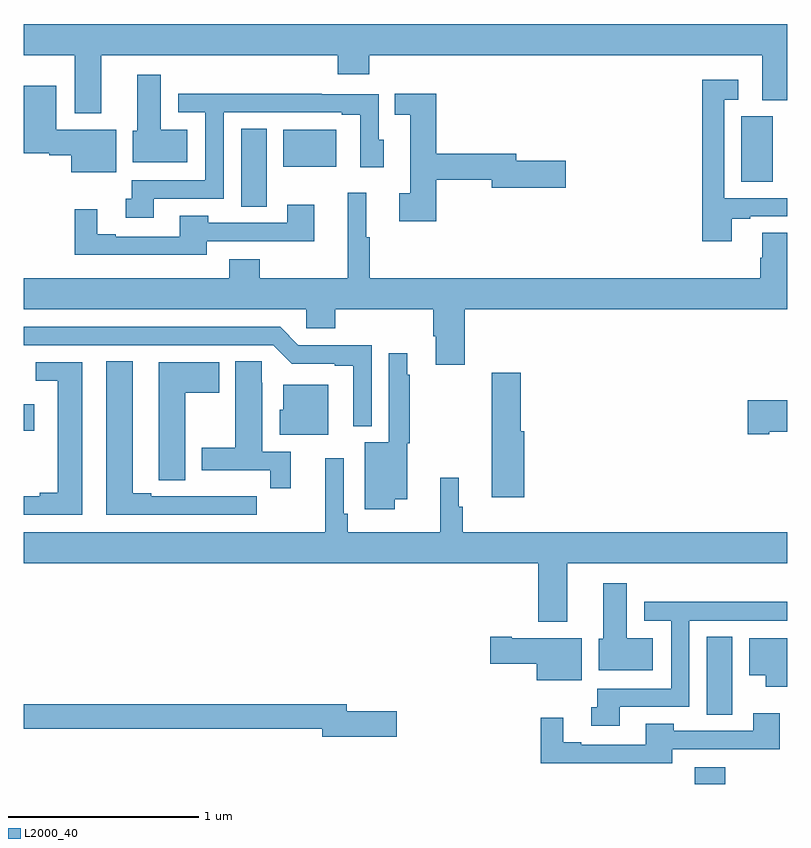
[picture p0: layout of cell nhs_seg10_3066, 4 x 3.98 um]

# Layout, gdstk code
import gdstk
lib = gdstk.Library(unit=1e-6, precision=1e-09)
def R(c, l, rs):  # rectangles x0, y0, x1, y1
    for r in rs: c.add(gdstk.rectangle(r[:2], r[2:], *l))
def P(c, l, *ps):  # polygons
    for p in ps: c.add(gdstk.Polygon(p, *l))
L2000_40 = (2000, 40)

nhs_seg10_3066 = lib.new_cell('nhs_seg10_3066')
R(nhs_seg10_3066, L2000_40, [(280.517,1292.5,280.677,1292.587), (280.58,1292.863,280.714,1293.272), (277,1294.352,277.054,1294.492), (278.138,1295.527,278.272,1295.936), (280.76,1295.656,280.924,1296), (278.36,1295.735,278.638,1295.929)])
P(nhs_seg10_3066, L2000_40, [(277.405,1296.32),(278.645,1296.32),(278.645,1296.221),(278.81,1296.221),(278.81,1296.32),(280.871,1296.32),(280.871,1296.085),(281,1296.085),(281,1296.484),(277,1296.484),(277,1296.32),(277.265,1296.32),(277.265,1296.015),(277.405,1296.015)],
  [(277.855,1295.929),(277.717,1295.929),(277.717,1296.217),(277.595,1296.217),(277.595,1295.925),(277.571,1295.925),(277.571,1295.759),(277.855,1295.759)],
  [(280.711,1295.463),(280.807,1295.463),(280.807,1295.475),(281,1295.475),(281,1295.571),(280.671,1295.571),(280.671,1296.087),(280.744,1296.087),(280.744,1296.193),(280.555,1296.193),(280.555,1295.346),(280.711,1295.346)],
  [(277.483,1295.929),(277.168,1295.929),(277.168,1296.16),(277,1296.16),(277,1295.807),(277.133,1295.807),(277.133,1295.795),(277.247,1295.795),(277.247,1295.708),(277.483,1295.708)],
  [(279.161,1295.668),(279.452,1295.668),(279.452,1295.626),(279.841,1295.626),(279.841,1295.768),(279.58,1295.768),(279.58,1295.804),(279.161,1295.804),(279.161,1296.119),(278.944,1296.119),(278.944,1296.009),(279.026,1296.009),(279.026,1295.598),(278.967,1295.598),(278.967,1295.45),(279.161,1295.45)],
  [(277.681,1295.568),(278.046,1295.568),(278.046,1296.021),(278.666,1296.021),(278.666,1296.009),(278.763,1296.009),(278.763,1295.733),(278.887,1295.733),(278.887,1295.877),(278.859,1295.877),(278.859,1296.117),(278.561,1296.117),(278.561,1296.119),(277.809,1296.119),(277.809,1296.021),(277.95,1296.021),(277.95,1295.664),(277.564,1295.664),(277.564,1295.567),(277.533,1295.567),(277.533,1295.469),(277.681,1295.469)],
  [(279.311,1294.988),(281,1294.988),(281,1295.39),(280.871,1295.39),(280.871,1295.258),(280.859,1295.258),(280.859,1295.152),(278.813,1295.152),(278.813,1295.367),(278.794,1295.367),(278.794,1295.599),(278.696,1295.599),(278.696,1295.152),(278.235,1295.152),(278.235,1295.251),(278.075,1295.251),(278.075,1295.152),(277,1295.152),(277,1294.988),(278.481,1294.988),(278.481,1294.89),(278.633,1294.89),(278.633,1294.988),(279.146,1294.988),(279.146,1294.846),(279.158,1294.846),(279.158,1294.698),(279.311,1294.698)],
  [(277.957,1295.346),(278.521,1295.346),(278.521,1295.536),(278.381,1295.536),(278.381,1295.442),(277.965,1295.442),(277.965,1295.479),(277.817,1295.479),(277.817,1295.37),(277.48,1295.37),(277.48,1295.383),(277.384,1295.383),(277.384,1295.512),(277.267,1295.512),(277.267,1295.274),(277.957,1295.274)],
  [(278.823,1294.8),(278.439,1294.8),(278.343,1294.896),(277,1294.896),(277,1294.8),(278.307,1294.8),(278.403,1294.704),(278.63,1294.704),(278.63,1294.692),(278.726,1294.692),(278.726,1294.376),(278.823,1294.376)],
  [(278.944,1293.992),(279.01,1293.992),(279.01,1294.287),(279.022,1294.287),(279.022,1294.646),(279.01,1294.646),(279.01,1294.759),(278.913,1294.759),(278.913,1294.291),(278.786,1294.291),(278.786,1293.939),(278.944,1293.939)],
  [(278.221,1294.008),(278.108,1294.008),(278.108,1294.009),(277.942,1294.009),(277.942,1294.008),(277.666,1294.008),(277.666,1294.023),(277.57,1294.023),(277.57,1294.715),(277.43,1294.715),(277.43,1293.912),(278.221,1293.912)],
  [(278.399,1294.242),(278.248,1294.242),(278.248,1294.604),(278.247,1294.604),(278.247,1294.715),(278.108,1294.715),(278.108,1294.263),(277.931,1294.263),(277.931,1294.146),(278.29,1294.146),(278.29,1294.05),(278.399,1294.05)],
  [(277.846,1294.552),(278.023,1294.552),(278.023,1294.711),(277.706,1294.711),(277.706,1294.201),(277.707,1294.201),(277.707,1294.093),(277.846,1294.093)],
  [(277.306,1294.71),(277.062,1294.71),(277.062,1294.614),(277.178,1294.614),(277.178,1294.028),(277.082,1294.028),(277.082,1294.008),(277,1294.008),(277,1293.912),(277.306,1293.912)],
  [(279.623,1294.35),(279.605,1294.35),(279.605,1294.657),(279.451,1294.657),(279.451,1294.35),(279.452,1294.35),(279.452,1294.002),(279.623,1294.002)],
  [(278.596,1294.594),(278.36,1294.594),(278.36,1294.461),(278.342,1294.461),(278.342,1294.331),(278.596,1294.331)],
  [(280.906,1294.346),(281,1294.346),(281,1294.512),(280.794,1294.512),(280.794,1294.334),(280.906,1294.334)],
  [(279.847,1293.656),(281,1293.656),(281,1293.82),(279.299,1293.82),(279.299,1293.954),(279.28,1293.954),(279.28,1294.105),(279.181,1294.105),(279.181,1293.82),(278.696,1293.82),(278.696,1293.916),(278.676,1293.916),(278.676,1294.207),(278.579,1294.207),(278.579,1293.82),(277,1293.82),(277,1293.656),(279.695,1293.656),(279.695,1293.351),(279.847,1293.351)],
  [(280.297,1293.265),(280.159,1293.265),(280.159,1293.553),(280.037,1293.553),(280.037,1293.261),(280.013,1293.261),(280.013,1293.095),(280.297,1293.095)],
  [(280.123,1292.904),(280.488,1292.904),(280.488,1293.357),(281,1293.357),(281,1293.455),(280.251,1293.455),(280.251,1293.357),(280.392,1293.357),(280.392,1293),(280.006,1293),(280.006,1292.903),(279.975,1292.903),(279.975,1292.805),(280.123,1292.805)],
  [(279.925,1293.265),(279.556,1293.265),(279.556,1293.273),(279.444,1293.273),(279.444,1293.131),(279.689,1293.131),(279.689,1293.044),(279.925,1293.044)],
  [(281,1293.265),(280.802,1293.265),(280.802,1293.071),(280.889,1293.071),(280.889,1293.011),(281,1293.011)],
  [(278.953,1292.882),(278.692,1292.882),(278.692,1292.918),(277,1292.918),(277,1292.79),(278.564,1292.79),(278.564,1292.747),(278.953,1292.747)],
  [(280.399,1292.682),(280.963,1292.682),(280.963,1292.872),(280.823,1292.872),(280.823,1292.778),(280.407,1292.778),(280.407,1292.815),(280.259,1292.815),(280.259,1292.706),(279.922,1292.706),(279.922,1292.719),(279.826,1292.719),(279.826,1292.848),(279.709,1292.848),(279.709,1292.61),(280.399,1292.61)])

lib.write_gds('nhs_seg10_3066.gds')
